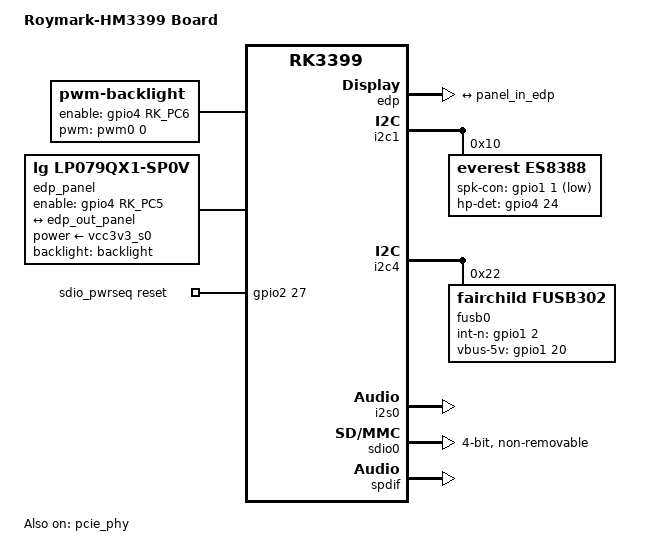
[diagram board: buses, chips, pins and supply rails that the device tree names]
// SPDX-License-Identifier: (GPL-2.0+ OR MIT)
/*
 * Copyright (c) 2017 Fuzhou Rockchip Electronics Co., Ltd.
 */

/dts-v1/;
#include "rk3399-hm3399.dtsi"

/ {
	model = "Roymark-HM3399 Board";
	compatible = "rockchip,hm3399", "rockchip,rk3399";


	backlight: backlight {
		compatible = "pwm-backlight";
		brightness-levels = <
			  0   1   2   3   4   5   6   7
			  8   9  10  11  12  13  14  15
			 16  17  18  19  20  21  22  23
			 24  25  26  27  28  29  30  31
			 32  33  34  35  36  37  38  39
			 40  41  42  43  44  45  46  47
			 48  49  50  51  52  53  54  55
			 56  57  58  59  60  61  62  63
			 64  65  66  67  68  69  70  71
			 72  73  74  75  76  77  78  79
			 80  81  82  83  84  85  86  87
			 88  89  90  91  92  93  94  95
			 96  97  98  99 100 101 102 103
			104 105 106 107 108 109 110 111
			112 113 114 115 116 117 118 119
			120 121 122 123 124 125 126 127
			128 129 130 131 132 133 134 135
			136 137 138 139 140 141 142 143
			144 145 146 147 148 149 150 151
			152 153 154 155 156 157 158 159
			160 161 162 163 164 165 166 167
			168 169 170 171 172 173 174 175
			176 177 178 179 180 181 182 183
			184 185 186 187 188 189 190 191
			192 193 194 195 196 197 198 199
			200 201 202 203 204 205 206 207
			208 209 210 211 212 213 214 215
			216 217 218 219 220 221 222 223
			224 225 226 227 228 229 230 231
			232 233 234 235 236 237 238 239
			240 241 242 243 244 245 246 247
			248 249 250 251 252 253 254 255>;
		default-brightness-level = <200>;
		enable-gpios = <&gpio4 RK_PC6 GPIO_ACTIVE_HIGH>;
		pwms = <&pwm0 0 25000 0>;
		status = "okay";
	};

	edp_panel: edp-panel {
		compatible ="lg,lp079qx1-sp0v";
		backlight = <&backlight>;
		enable-gpios = <&gpio4 RK_PC5 GPIO_ACTIVE_HIGH>;
		pinctrl-names = "default";
		pinctrl-0 = <&lcd_panel_reset>;
		power-supply = <&vcc3v3_s0>;

		port {
			panel_in_edp: endpoint {
				remote-endpoint = <&edp_out_panel>;
			};
		};
	};

	es8388_sound{
		compatible = "simple-audio-card";
		simple-audio-card,name = "rockchip,es8388-codec";
		simple-audio-card,format = "i2s";
		simple-audio-card,mclk-fs = <256>;
		simple-audio-card,widgets =
			"Microphone", "Mic Jack",
			"Headphone", "Headphone Jack";
		simple-audio-card,routing =
			"Mic Jack", "MICBIAS1",
			"IN1P", "Mic Jack",
			"Headphone Jack", "HPOL",
			"Headphone Jack", "HPOR";
		simple-audio-card,cpu {
			sound-dai = <&i2s0>;
			system-clock-frequency = <11289600>;
		};
		simple-audio-card,codec {
			sound-dai = <&es8388>;
			system-clock-frequency = <11289600>;
		};
	};

	sdio_pwrseq: sdio-pwrseq {
		compatible = "mmc-pwrseq-simple";
		clocks = <&rk808 1>;
		clock-names = "ext_clock";
		pinctrl-names = "default";
		pinctrl-0 = <&wifi_enable_h>;

		/*
		 * On the module itself this is one of these (depending
		 * on the actual card populated):
		 * - SDIO_RESET_L_WL_REG_ON
		 * - PDN (power down when low)
		 */
		reset-gpios = <&gpio2 27 GPIO_ACTIVE_HIGH>; /* GPIO2_D3 */
	};
};

&edp {
	status = "okay";

	ports {
		edp_out: port@1 {
			reg = <1>;
			#address-cells = <1>;
			#size-cells = <0>;

			edp_out_panel: endpoint@0 {
				reg = <0>;
				remote-endpoint = <&panel_in_edp>;
			};
		};
	};
};

&i2c1 {
	i2c-scl-rising-time-ns = <300>;
	i2c-scl-falling-time-ns = <15>;
	status = "okay";

	es8388: es8388@10 {
		#sound-dai-cells = <0>;
		compatible = "everest,es8388";
		reg = <0x10>;
		clocks = <&cru SCLK_I2S_8CH_OUT>;
		clock-names = "mclk";
		pinctrl-names = "default";
		pinctrl-0 = <&i2s_8ch_mclk &hpdet_int>;
    	        //pinctrl-0 = <&i2s_8ch_mclk>;
		spk-con-gpio = <&gpio1 1 GPIO_ACTIVE_LOW>;
		hp-det-gpio = <&gpio4 24 GPIO_ACTIVE_HIGH>;//insert=GPIO_ACTIVE_HIGH

		status = "okay";
	};
};

&i2c4 {
	status = "okay";
	i2c-scl-rising-time-ns = <475>;
	i2c-scl-falling-time-ns = <26>;

	fusb0: fusb30x@22 {
		compatible = "fairchild,fusb302";
		reg = <0x22>;
		pinctrl-names = "default";
		pinctrl-0 = <&fusb0_int &vcc5v0_typec0_en>;
		int-n-gpios = <&gpio1 2 GPIO_ACTIVE_HIGH>;//GPIO1_A2
		vbus-5v-gpios = <&gpio1 20 GPIO_ACTIVE_HIGH>;//GPIO1_C4
		status = "okay";
	};
};

&i2s0 {
	rockchip,playback-channels = <8>;
	rockchip,capture-channels = <8>;
	status = "okay";
};

&pcie_phy {
	status = "okay";
};

&pcie0 {
	ep-gpios = <&gpio2 RK_PA4 GPIO_ACTIVE_HIGH>;
	num-lanes = <4>;
	pinctrl-names = "default";
	pinctrl-0 = <&pcie_clkreqn_cpm>;
	status = "disabled";
};

&pinctrl {
	sdio-pwrseq {
		wifi_enable_h: wifi-enable-h {
			rockchip,pins = <0 RK_PB2 RK_FUNC_GPIO &pcfg_pull_none>;
		};
	};

	lcd-panel {
		lcd_panel_reset: lcd-panel-reset {
			rockchip,pins = <4 RK_PD6 RK_FUNC_GPIO &pcfg_pull_up>;
		};
	};

	es8388-gpios{
		hpdet_int: hpdet-int {
			rockchip,pins = <4 24 RK_FUNC_GPIO &pcfg_pull_none>;
		};
	};

	i2s1 {
		i2s_8ch_mclk: i2s-8ch-mclk {
			rockchip,pins = <4 RK_PA0 1 &pcfg_pull_none>;
		};
	};


};

&sdio0 {
	bus-width = <4>;
	cap-sd-highspeed;
	cap-sdio-irq;
	clock-frequency = <50000000>;
	keep-power-in-suspend;
	max-frequency = <50000000>;
	mmc-pwrseq = <&sdio_pwrseq>;
	non-removable;
	pinctrl-names = "default";
	pinctrl-0 = <&sdio0_bus4 &sdio0_cmd &sdio0_clk>;
	sd-uhs-sdr104;
	status = "okay";
};

&spdif {
	status = "okay";
};
